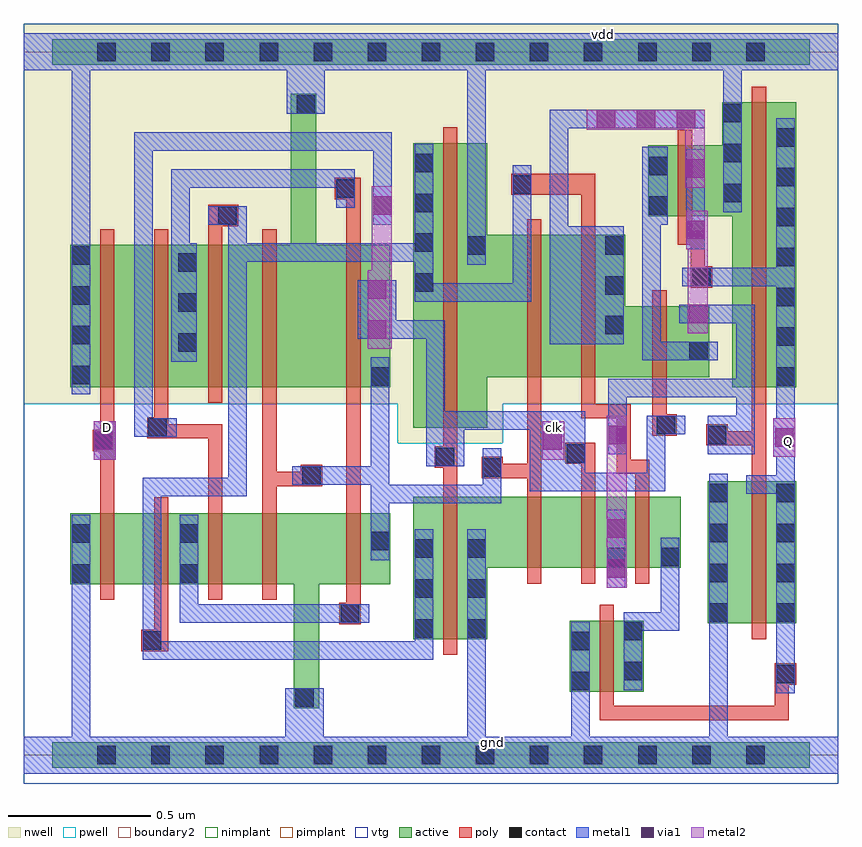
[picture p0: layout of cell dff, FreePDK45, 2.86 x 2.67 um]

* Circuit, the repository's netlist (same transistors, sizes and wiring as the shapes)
* File: DFFPOSX1.pex.netlist
* Created: Wed Jan  2 18:36:24 2008
* Program "Calibre xRC"
* Version "v2007.2_34.24"
* 
.subckt dff D Q clk vdd gnd
* 
MM21 Q a_66_6# gnd gnd NMOS_VTG L=5e-08 W=5e-07
MM19 a_76_6# a_2_6# a_66_6# gnd NMOS_VTG L=5e-08 W=2.5e-07
MM20 gnd Q a_76_6# gnd NMOS_VTG L=5e-08 W=2.5e-07
MM18 a_66_6# clk a_61_6# gnd NMOS_VTG L=5e-08 W=2.5e-07
MM17 a_61_6# a_34_4# gnd gnd NMOS_VTG L=5e-08 W=2.5e-07
MM10 gnd clk a_2_6# gnd NMOS_VTG L=5e-08 W=5e-07
MM16 a_34_4# a_22_6# gnd gnd NMOS_VTG L=5e-08 W=2.5e-07
MM15 gnd a_34_4# a_31_6# gnd NMOS_VTG L=5e-08 W=2.5e-07
MM14 a_31_6# clk a_22_6# gnd NMOS_VTG L=5e-08 W=2.5e-07
MM13 a_22_6# a_2_6# a_17_6# gnd NMOS_VTG L=5e-08 W=2.5e-07
MM12 a_17_6# D gnd gnd NMOS_VTG L=5e-08 W=2.5e-07
MM11 Q a_66_6# vdd vdd PMOS_VTG L=5e-08 W=1e-06
MM9 vdd Q a_76_84# vdd PMOS_VTG L=5e-08 W=2.5e-07
MM8 a_76_84# clk a_66_6# vdd PMOS_VTG L=5e-08 W=2.5e-07
MM7 a_66_6# a_2_6# a_61_74# vdd PMOS_VTG L=5e-08 W=5e-07
MM6 a_61_74# a_34_4# vdd vdd PMOS_VTG L=5e-08 W=5e-07
MM0 vdd clk a_2_6# vdd PMOS_VTG L=5e-08 W=1e-06
MM5 a_34_4# a_22_6# vdd vdd PMOS_VTG L=5e-08 W=5e-07
MM4 vdd a_34_4# a_31_74# vdd PMOS_VTG L=5e-08 W=5e-07
MM3 a_31_74# a_2_6# a_22_6# vdd PMOS_VTG L=5e-08 W=5e-07
MM2 a_22_6# clk a_17_74# vdd PMOS_VTG L=5e-08 W=5e-07
MM1 a_17_74# D vdd vdd PMOS_VTG L=5e-08 W=5e-07
* c_9 a_66_6# 0 0.271997f
* c_20 clk 0 0.350944f
* c_27 Q 0 0.202617f
* c_32 a_76_84# 0 0.0210573f
* c_38 a_76_6# 0 0.0204911f
* c_45 a_34_4# 0 0.172306f
* c_55 a_2_6# 0 0.283119f
* c_59 a_22_6# 0 0.157312f
* c_64 D 0 0.0816386f
* c_73 gnd 0 0.254131f
* c_81 vdd 0 0.23624f
*
*.include "dff.pex.netlist.dff.pxi"
*
.ends
*
*

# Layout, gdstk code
import gdstk
lib = gdstk.Library(unit=1e-6, precision=5e-10)
def R(c, l, rs):  # rectangles x0, y0, x1, y1
    for r in rs: c.add(gdstk.rectangle(r[:2], r[2:], *l))
def A(c, l, x, y, w, h, nx, ny, dx, dy):  # array of equal rectangles
    R(c, l, [(x+i*dx, y+j*dy, x+i*dx+w, y+j*dy+h) for i in range(nx) for j in range(ny)])
def P(c, l, *ps):  # polygons
    for p in ps: c.add(gdstk.Polygon(p, *l))
active = (1, 0)
pwell = (2, 0)
nwell = (3, 0)
nimplant = (4, 0)
pimplant = (5, 0)
vtg = (6, 0)
poly = (9, 0)
contact = (10, 0)
metal1 = (11, 0)
via1 = (12, 0)
metal2 = (13, 0)
boundary2 = (239, 0)

dff = lib.new_cell('dff')
A(dff, active, 0.2675, 0.6, 0.05, 0.25, 4, 1, 0.19, 0)
A(dff, active, 0.3175, 0.6, 0.14, 0.25, 3, 1, 0.19, 0)
A(dff, active, 1.7675, 0.6575, 0.05, 0.25, 3, 1, 0.19, 0)
A(dff, active, 0.2675, 1.2925, 0.05, 0.5, 4, 1, 0.19, 0)
A(dff, active, 0.3175, 1.2925, 0.14, 0.5, 3, 1, 0.19, 0)
R(dff, active, [(0.1,-0.045,2.76,0.045), (1.9175,0.2225,2.0225,0.4725), (2.0225,0.2225,2.0725,0.4725), (2.0725,0.2225,2.1775,0.4725), (1.3675,0.4075,1.4725,0.9075), (1.4725,0.4075,1.5225,0.9075), (2.4025,0.4625,2.5575,0.9625), (2.5575,0.4625,2.6075,0.9625), (2.6075,0.4625,2.7125,0.9625), (0.1625,0.6,0.2675,0.85), (1.1325,0.6,1.1825,0.85), (1.1825,0.6,1.2875,0.85), (1.8175,0.6575,1.9575,0.9075), (2.0075,0.6575,2.1475,0.9075), (2.1975,0.6575,2.3075,0.9075), (1.3675,1.15,1.4725,2.15), (1.4725,1.15,1.5225,2.15), (0.1625,1.2925,0.2675,1.7925), (1.1325,1.2925,1.1825,1.7925), (1.1825,1.2925,1.2875,1.7925), (2.5575,1.2925,2.6075,2.2925), (2.6075,1.2925,2.7125,2.2925), (1.7675,1.3275,1.8175,1.8275), (1.8175,1.3275,1.9575,1.8275), (1.9575,1.3275,2.0075,1.8275), (2.2075,1.3275,2.2575,1.5775), (2.2575,1.3275,2.4075,1.5775), (2.1925,1.8925,2.2975,2.1425), (2.2975,1.8925,2.3475,2.1425), (0.1,2.425,2.76,2.515)])
P(dff, active, [(0.8875,1.2925),(0.8875,1.7925),(0.9375,1.7925),(0.9375,2.3225),(1.0275,2.3225),(1.0275,1.7925),(1.1325,1.7925),(1.1325,1.2925)],
  [(1.5225,1.15),(1.5225,2.15),(1.6275,2.15),(1.6275,1.8275),(1.7675,1.8275),(1.7675,1.3275),(1.6275,1.3275),(1.6275,1.15)],
  [(2.0075,1.3275),(2.0075,1.8275),(2.1125,1.8275),(2.1125,1.5775),(2.2075,1.5775),(2.2075,1.3275)],
  [(2.4875,1.2925),(2.4875,1.8925),(2.3475,1.8925),(2.3475,2.1425),(2.4525,2.1425),(2.4525,2.2925),(2.5575,2.2925),(2.5575,1.2925)],
  [(0.9475,0.165),(0.9475,0.6),(0.8875,0.6),(0.8875,0.85),(1.1325,0.85),(1.1325,0.6),(1.0375,0.6),(1.0375,0.165)],
  [(1.5225,0.4075),(1.5225,0.9075),(1.7675,0.9075),(1.7675,0.6575),(1.6275,0.6575),(1.6275,0.4075)])
P(dff, pwell, [(0,-0.1),(0,1.235),(1.3125,1.235),(1.3125,1.095),(1.6825,1.095),(1.6825,1.235),(2.86,1.235),(2.86,-0.1)])
P(dff, nwell, [(1.3125,1.095),(1.3125,1.235),(0,1.235),(0,2.57),(2.86,2.57),(2.86,1.235),(1.6825,1.235),(1.6825,1.095)])
A(dff, nimplant, 0.2675, 0.6, 0.05, 0.25, 4, 1, 0.19, 0)
A(dff, nimplant, 0.3175, 0.6, 0.14, 0.25, 3, 1, 0.19, 0)
A(dff, nimplant, 1.7675, 0.6575, 0.05, 0.25, 3, 1, 0.19, 0)
R(dff, nimplant, [(1.9175,0.2225,2.0225,0.4725), (2.0225,0.2225,2.0725,0.4725), (2.0725,0.2225,2.1775,0.4725), (1.3675,0.4075,1.4725,0.9075), (1.4725,0.4075,1.5225,0.9075), (2.4025,0.4625,2.5575,0.9625), (2.5575,0.4625,2.6075,0.9625), (2.6075,0.4625,2.7125,0.9625), (0.1625,0.6,0.2675,0.85), (1.1325,0.6,1.1825,0.85), (1.1825,0.6,1.2875,0.85), (1.8175,0.6575,1.9575,0.9075), (2.0075,0.6575,2.1475,0.9075), (2.1975,0.6575,2.3075,0.9075), (0.1,2.425,2.76,2.515)])
P(dff, nimplant, [(0.9475,0.165),(0.9475,0.6),(0.8875,0.6),(0.8875,0.85),(1.1325,0.85),(1.1325,0.6),(1.0375,0.6),(1.0375,0.165)],
  [(1.5225,0.4075),(1.5225,0.9075),(1.7675,0.9075),(1.7675,0.6575),(1.6275,0.6575),(1.6275,0.4075)])
A(dff, pimplant, 0.2675, 1.2925, 0.05, 0.5, 4, 1, 0.19, 0)
A(dff, pimplant, 0.3175, 1.2925, 0.14, 0.5, 3, 1, 0.19, 0)
R(dff, pimplant, [(0.1,-0.045,2.76,0.045), (1.3675,1.15,1.4725,2.15), (1.4725,1.15,1.5225,2.15), (0.1625,1.2925,0.2675,1.7925), (1.1325,1.2925,1.1825,1.7925), (1.1825,1.2925,1.2875,1.7925), (2.5575,1.2925,2.6075,2.2925), (2.6075,1.2925,2.7125,2.2925), (1.7675,1.3275,1.8175,1.8275), (1.8175,1.3275,1.9575,1.8275), (1.9575,1.3275,2.0075,1.8275), (2.2075,1.3275,2.2575,1.5775), (2.2575,1.3275,2.4075,1.5775), (2.1925,1.8925,2.2975,2.1425), (2.2975,1.8925,2.3475,2.1425)])
P(dff, pimplant, [(0.8875,1.2925),(0.8875,1.7925),(0.9375,1.7925),(0.9375,2.3225),(1.0275,2.3225),(1.0275,1.7925),(1.1325,1.7925),(1.1325,1.2925)],
  [(1.5225,1.15),(1.5225,2.15),(1.6275,2.15),(1.6275,1.8275),(1.7675,1.8275),(1.7675,1.3275),(1.6275,1.3275),(1.6275,1.15)],
  [(2.0075,1.3275),(2.0075,1.8275),(2.1125,1.8275),(2.1125,1.5775),(2.2075,1.5775),(2.2075,1.3275)],
  [(2.4875,1.2925),(2.4875,1.8925),(2.3475,1.8925),(2.3475,2.1425),(2.4525,2.1425),(2.4525,2.2925),(2.5575,2.2925),(2.5575,1.2925)])
R(dff, vtg, [(0,-0.1,2.86,2.57)])
A(dff, poly, 0.2675, 0.6, 0.05, 0.25, 4, 1, 0.19, 0)
A(dff, poly, 1.7675, 0.6025, 0.05, 0.055, 3, 1, 0.19, 0)
A(dff, poly, 1.7675, 0.6575, 0.05, 0.25, 3, 1, 0.19, 0)
A(dff, poly, 0.2675, 1.2925, 0.05, 0.5, 4, 1, 0.19, 0)
R(dff, poly, [(2.0225,0.2225,2.0725,0.4725), (1.4725,0.3525,1.5225,0.4075), (1.4725,0.4075,1.5225,0.9075), (2.5575,0.4075,2.6075,0.4625), (2.5575,0.4625,2.6075,0.9625), (2.0225,0.4725,2.0725,0.5275), (0.2675,0.545,0.3175,0.6), (0.6475,0.545,0.6975,0.6), (0.8375,0.545,0.8875,0.6), (1.1325,0.6,1.1825,0.85), (0.4575,0.85,0.5075,0.905), (1.1325,0.85,1.1825,1.2925), (1.4725,1.15,1.5225,2.15), (0.6475,1.2375,0.6975,1.2925), (1.1325,1.2925,1.1825,1.7925), (2.5575,1.2925,2.6075,2.2925), (1.7675,1.3275,1.8175,1.8275), (1.9575,1.3275,2.0075,1.8275), (2.2075,1.3275,2.2575,1.5775), (2.2075,1.5775,2.2575,1.6325), (0.2675,1.7925,0.3175,1.8475), (0.4575,1.7925,0.5075,1.8475), (0.8375,1.7925,0.8875,1.8475), (1.7675,1.8275,1.8175,1.8825), (2.2975,1.8925,2.3475,2.1425), (2.2975,2.1425,2.3475,2.1975), (1.4725,2.15,1.5225,2.205), (2.5575,2.2925,2.6075,2.3475)])
P(dff, poly, [(0.2675,0.85),(0.2675,1.0675),(0.2425,1.0675),(0.2425,1.1425),(0.2675,1.1425),(0.2675,1.2925),(0.3175,1.2925),(0.3175,0.85)],
  [(0.4125,0.365),(0.4125,0.44),(0.4575,0.44),(0.4575,0.6),(0.5075,0.6),(0.5075,0.365)],
  [(0.6475,1.7925),(0.6475,1.9325),(0.7525,1.9325),(0.7525,1.8575),(0.6975,1.8575),(0.6975,1.7925)],
  [(0.6475,0.85),(0.6475,1.1125),(0.4325,1.1125),(0.4325,1.1875),(0.4575,1.1875),(0.4575,1.2925),(0.5075,1.2925),(0.5075,1.1625),(0.6975,1.1625),(0.6975,0.85)],
  [(0.8375,0.85),(0.8375,1.2925),(0.8875,1.2925),(0.8875,0.995),(0.9725,0.995),(0.9725,1.02),(1.0475,1.02),(1.0475,0.945),(0.8875,0.945),(0.8875,0.85)],
  [(1.1325,1.7925),(1.1325,1.9525),(1.0925,1.9525),(1.0925,2.0275),(1.1825,2.0275),(1.1825,1.7925)],
  [(1.1075,0.46),(1.1075,0.535),(1.1325,0.535),(1.1325,0.6),(1.1825,0.6),(1.1825,0.46)],
  [(1.4725,0.9075),(1.4725,1.01),(1.4425,1.01),(1.4425,1.085),(1.4725,1.085),(1.4725,1.15),(1.5225,1.15),(1.5225,0.9075)],
  [(1.7675,0.9075),(1.7675,0.9725),(1.6075,0.9725),(1.6075,1.0475),(1.6825,1.0475),(1.6825,1.0225),(1.7675,1.0225),(1.7675,1.3275),(1.8175,1.3275),(1.8175,0.9075)],
  [(1.9575,1.8275),(1.9575,1.9675),(1.7125,1.9675),(1.7125,2.0425),(2.0075,2.0425),(2.0075,1.8275)],
  [(1.9575,0.9075),(1.9575,1.0225),(1.9025,1.0225),(1.9025,1.0975),(2.0075,1.0975),(2.0075,0.9075)],
  [(2.3425,1.6425),(2.3425,1.7925),(2.2975,1.7925),(2.2975,1.8925),(2.3475,1.8925),(2.3475,1.8425),(2.3925,1.8425),(2.3925,1.7175),(2.4175,1.7175),(2.4175,1.6425)],
  [(2.2075,1.1225),(2.2075,1.3275),(2.2575,1.3275),(2.2575,1.1975),(2.2925,1.1975),(2.2925,1.1225)],
  [(2.0225,0.1225),(2.0225,0.2225),(2.0725,0.2225),(2.0725,0.1725),(2.6375,0.1725),(2.6375,0.3225),(2.7125,0.3225),(2.7125,0.2475),(2.6875,0.2475),(2.6875,0.1225)],
  [(2.1475,0.9075),(2.1475,0.9875),(2.0825,0.9875),(2.0825,1.1825),(1.9575,1.1825),(1.9575,1.3275),(2.0075,1.3275),(2.0075,1.2325),(2.1325,1.2325),(2.1325,1.0375),(2.1975,1.0375),(2.1975,0.9075)],
  [(2.5575,0.9625),(2.5575,1.0875),(2.3975,1.0875),(2.3975,1.1625),(2.4725,1.1625),(2.4725,1.1375),(2.5575,1.1375),(2.5575,1.2925),(2.6075,1.2925),(2.6075,0.9625)])
A(dff, contact, 0.2575, -0.0325, 0.065, 0.065, 13, 2, 0.19, 2.47)
A(dff, contact, 1.3725, 0.4125, 0.065, 0.065, 1, 3, 0, 0.14)
A(dff, contact, 1.5575, 0.4125, 0.065, 0.065, 1, 3, 0, 0.14)
A(dff, contact, 2.4075, 0.4675, 0.065, 0.065, 1, 4, 0, 0.14)
A(dff, contact, 2.6425, 0.4675, 0.065, 0.065, 1, 4, 0, 0.14)
A(dff, contact, 2.6425, 1.2975, 0.065, 0.065, 1, 7, 0, 0.14)
A(dff, contact, 0.1675, 1.3025, 0.065, 0.065, 1, 4, 0, 0.14)
A(dff, contact, 0.5425, 1.4175, 0.065, 0.065, 1, 3, 0, 0.14)
A(dff, contact, 2.0425, 1.4775, 0.065, 0.065, 1, 3, 0, 0.14)
A(dff, contact, 1.3725, 1.6275, 0.065, 0.065, 1, 4, 0, 0.14)
A(dff, contact, 2.4575, 1.9425, 0.065, 0.065, 1, 3, 0, 0.14)
R(dff, contact, [(0.9525,0.17,1.0175,0.235), (1.9225,0.2275,1.9875,0.2925), (2.6425,0.2525,2.7075,0.3175), (2.1075,0.2625,2.1725,0.3275), (1.9225,0.3675,1.9875,0.4325), (0.4175,0.37,0.4825,0.435), (2.1075,0.4025,2.1725,0.4675), (1.1125,0.465,1.1775,0.53), (0.1675,0.605,0.2325,0.67), (0.5475,0.605,0.6125,0.67), (2.0475,0.6625,2.1125,0.7275), (2.2375,0.6625,2.3025,0.7275), (1.2175,0.72,1.2825,0.785), (0.1675,0.745,0.2325,0.81), (0.5475,0.745,0.6125,0.81), (0.9775,0.95,1.0425,1.015), (1.6125,0.9775,1.6775,1.0425), (1.4475,1.015,1.5125,1.08), (1.9075,1.0275,1.9725,1.0925), (0.2475,1.0725,0.3125,1.1375), (2.4025,1.0925,2.4675,1.1575), (0.4375,1.1175,0.5025,1.1825), (2.2225,1.1275,2.2875,1.1925), (1.2175,1.2975,1.2825,1.3625), (2.3375,1.3875,2.4025,1.4525), (2.3475,1.6475,2.4125,1.7125), (1.5575,1.7575,1.6225,1.8225), (0.6825,1.8625,0.7475,1.9275), (2.1975,1.8975,2.2625,1.9625), (1.0975,1.9575,1.1625,2.0225), (1.7175,1.9725,1.7825,2.0375), (2.1975,2.0375,2.2625,2.1025), (0.9575,2.2525,1.0225,2.3175)])
R(dff, metal1, [(0,-0.065,2.86,0.065), (2.0475,0.5875,2.1125,0.8625), (2.6425,0.915,2.7075,1.1275), (1.7775,0.9275,1.9725,1.2075), (0.245,1.0375,0.3225,1.1725), (2.6325,1.0475,2.71,1.1825), (2.3275,1.7775,2.3925,2.1275), (0,2.405,2.76,2.535)])
P(dff, metal1, [(0.1675,1.2675),(0.1675,2.405),(0.1,2.405),(0.1,2.535),(2.86,2.535),(2.86,2.405),(2.5225,2.405),(2.5225,1.9075),(2.4575,1.9075),(2.4575,2.405),(1.6225,2.405),(1.6225,1.7225),(1.5575,1.7225),(1.5575,2.405),(1.0575,2.405),(1.0575,2.2525),(0.9225,2.2525),(0.9225,2.405),(0.2325,2.405),(0.2325,1.2675)],
  [(0.1,-0.065),(0.1,0.065),(0.1675,0.065),(0.1675,0.845),(0.2325,0.845),(0.2325,0.065),(0.9175,0.065),(0.9175,0.235),(1.0525,0.235),(1.0525,0.065),(1.5575,0.065),(1.5575,0.7925),(1.6225,0.7925),(1.6225,0.065),(1.9225,0.065),(1.9225,0.4675),(1.9875,0.4675),(1.9875,0.065),(2.4075,0.065),(2.4075,0.9875),(2.4725,0.9875),(2.4725,0.065),(2.76,0.065),(2.76,-0.065)],
  [(0.4175,0.335),(0.4175,0.975),(0.7175,0.975),(0.7175,1.8625),(0.6475,1.8625),(0.6475,1.9275),(0.7825,1.9275),(0.7825,1.7975),(1.3725,1.7975),(1.3725,2.1475),(1.4375,2.1475),(1.4375,1.6575),(1.7175,1.6575),(1.7175,2.0725),(1.7825,2.0725),(1.7825,1.5925),(1.3725,1.5925),(1.3725,1.7325),(0.7825,1.7325),(0.7825,0.91),(0.4825,0.91),(0.4825,0.4),(1.3725,0.4),(1.3725,0.7925),(1.4375,0.7925),(1.4375,0.335)],
  [(1.7775,0.9275),(1.7775,1.1425),(1.5475,1.1425),(1.5475,1.015),(1.4125,1.015),(1.4125,1.4625),(1.1725,1.4625),(1.1725,1.6675),(1.3075,1.6675),(1.3075,1.5275),(1.4775,1.5275),(1.4775,1.2075),(1.9725,1.2075),(1.9725,0.9925),(2.1875,0.9925),(2.1875,1.1925),(2.3225,1.1925),(2.3225,1.1275),(2.2525,1.1275),(2.2525,0.9275)],
  [(0.3875,1.1175),(0.3875,2.1875),(1.2925,2.1875),(1.2925,1.8625),(1.2275,1.8625),(1.2275,2.1225),(0.4525,2.1225),(0.4525,1.1825),(0.5375,1.1825),(0.5375,1.1175)],
  [(0.5175,1.3825),(0.5175,2.0575),(1.1625,2.0575),(1.1625,1.9225),(1.0975,1.9225),(1.0975,1.9925),(0.5825,1.9925),(0.5825,1.7975),(0.6075,1.7975),(0.6075,1.3825)],
  [(0.5475,0.465),(0.5475,0.845),(0.6125,0.845),(0.6125,0.53),(1.2125,0.53),(1.2125,0.465)],
  [(1.2175,0.685),(1.2175,0.95),(0.9425,0.95),(0.9425,1.015),(1.2175,1.015),(1.2175,1.3975),(1.2825,1.3975),(1.2825,0.95),(1.6125,0.95),(1.6125,1.0775),(1.6775,1.0775),(1.6775,0.885),(1.2825,0.885),(1.2825,0.685)],
  [(1.8475,1.4425),(1.8475,2.2675),(2.3925,2.2675),(2.3925,2.2025),(1.9125,2.2025),(1.9125,1.8575),(2.1075,1.8575),(2.1075,1.4425)],
  [(2.0525,1.0575),(2.0525,1.3225),(2.5025,1.3225),(2.5025,1.5175),(2.3025,1.5175),(2.3025,1.5825),(2.5675,1.5825),(2.5675,1.0575),(2.4025,1.0575),(2.4025,1.1925),(2.5025,1.1925),(2.5025,1.2575),(2.1175,1.2575),(2.1175,1.0575)],
  [(2.1725,1.3875),(2.1725,2.1375),(2.2625,2.1375),(2.2625,1.8625),(2.2375,1.8625),(2.2375,1.4525),(2.4375,1.4525),(2.4375,1.3875)],
  [(2.6425,0.2175),(2.6425,0.9175),(2.5375,0.9175),(2.5375,0.9825),(2.6425,0.9825),(2.6425,1.6475),(2.3125,1.6475),(2.3125,1.7125),(2.6425,1.7125),(2.6425,2.2375),(2.7075,2.2375),(2.7075,0.2175)],
  [(2.1075,0.2275),(2.1075,0.5025),(2.2375,0.5025),(2.2375,0.7625),(2.3025,0.7625),(2.3025,0.4375),(2.1725,0.4375),(2.1725,0.2275)])
A(dff, via1, 2.0125, 2.2025, 0.065, 0.065, 3, 1, 0.14, 0)
R(dff, via1, [(2.0475,0.6225,2.1125,0.6875), (2.0475,0.7625,2.1125,0.8275), (0.2475,1.0725,0.3125,1.1375), (1.825,1.0725,1.89,1.1375), (2.64,1.0825,2.705,1.1475), (2.0525,1.0925,2.1175,1.1575), (1.2075,1.4625,1.2725,1.5275), (2.3375,1.5175,2.4025,1.5825), (1.2075,1.6025,1.2725,1.6675), (2.3275,1.8125,2.3925,1.8775), (1.2275,1.8975,1.2925,1.9625), (2.3275,2.0275,2.3925,2.0925)])
R(dff, metal2, [(2.0475,0.5875,2.1175,1.1925), (0.245,1.0375,0.3225,1.1725), (1.82,1.0375,1.8975,1.1725), (2.6325,1.0475,2.71,1.1825)])
P(dff, metal2, [(1.2075,1.4275),(1.2075,1.7025),(1.2225,1.7025),(1.2225,1.9975),(1.2925,1.9975),(1.2925,1.4275)],
  [(2.3225,1.9925),(2.3225,2.1975),(1.9775,2.1975),(1.9775,2.2675),(2.3925,2.2675),(2.3925,1.9925)],
  [(2.3325,1.4825),(2.3325,1.7775),(2.3275,1.7775),(2.3275,1.9125),(2.4025,1.9125),(2.4025,1.4825)])
R(dff, boundary2, [(0,0,2.86,2.47)])
dff.add(gdstk.Label('clk', (1.865,1.15), layer=13, texttype=0))
dff.add(gdstk.Label('D', (0.295,1.15), layer=13, texttype=0))
dff.add(gdstk.Label('Q', (2.685,1.1), layer=13, texttype=0))
dff.add(gdstk.Label('gnd', (1.645,0.0425), layer=11, texttype=0))
dff.add(gdstk.Label('vdd', (2.035,2.5325), layer=11, texttype=0))

lib.write_gds('dff.gds')
